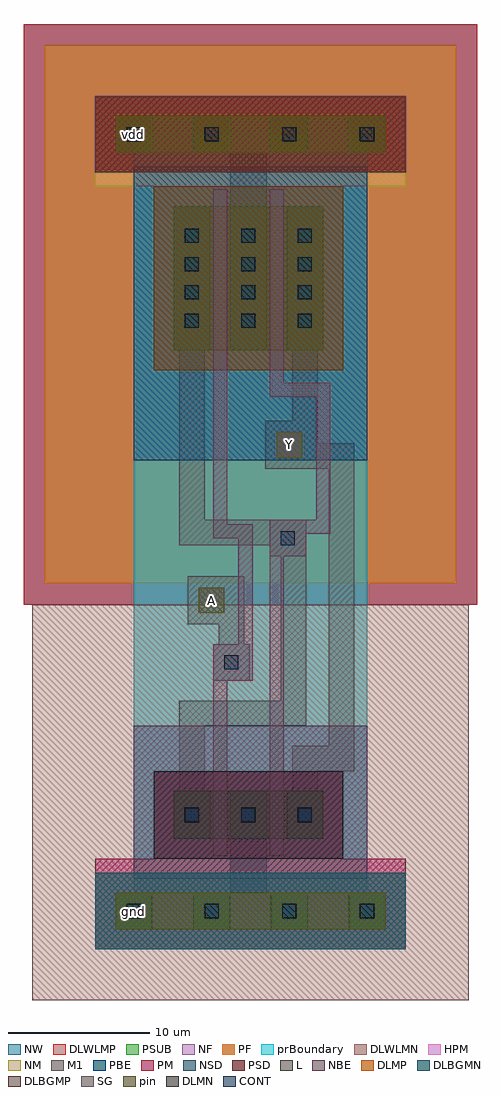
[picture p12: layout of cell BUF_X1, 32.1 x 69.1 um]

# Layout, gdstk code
import gdstk
lib = gdstk.Library(unit=1e-6, precision=1e-09)
def R(c, l, rs):  # rectangles x0, y0, x1, y1
    for r in rs: c.add(gdstk.rectangle(r[:2], r[2:], *l))
def A(c, l, x, y, w, h, nx, ny, dx, dy):  # array of equal rectangles
    R(c, l, [(x+i*dx, y+j*dy, x+i*dx+w, y+j*dy+h) for i in range(nx) for j in range(ny)])
def P(c, l, *ps):  # polygons
    for p in ps: c.add(gdstk.Polygon(p, *l))
L = (3, 0)
NM = (7, 0)
SG = (8, 0)
PSD = (9, 0)
CONT = (11, 0)
M1 = (13, 0)
NF = (25, 0)
PF = (26, 0)
NSD = (28, 0)
HPM = (33, 0)
PM = (35, 0)
NW = (36, 0)
pin = (48, 1)
PSUB = (140, 0)
PBE = (146, 0)
NBE = (147, 0)
DLWLMP = (150, 0)
DLWLMN = (151, 0)
DLMP = (157, 0)
DLMN = (158, 0)
DLBGMP = (177, 0)
DLBGMN = (178, 0)
prBoundary = (235, 0)

buf_x1 = lib.new_cell('BUF_X1')
A(buf_x1, L, -1.3, -1.3, 2.6, 2.6, 4, 2, 5.5, 55)
R(buf_x1, L, [(2.8,5.1,13.4,8.5), (2.8,39.7,13.4,49.9)])
R(buf_x1, NM, [(-2.75,-2.7,19.25,2.7)])
P(buf_x1, NM, [(1.4,38.3),(1.4,51.3),(-2.75,51.3),(-2.75,57.7),(19.25,57.7),(19.25,51.3),(14.8,51.3),(14.8,38.3)])
P(buf_x1, SG, [(5.6,3.9),(5.6,18.9),(7.4,18.9),(7.4,26.4),(5.6,26.4),(5.6,51.1),(6.6,51.1),(6.6,27.4),(8.4,27.4),(8.4,16.3),(6.6,16.3),(6.6,3.9)],
  [(9.6,3.9),(9.6,27.7),(12.9,27.7),(12.9,36.4),(9.6,36.4),(9.6,51.1),(10.6,51.1),(10.6,37.4),(13.9,37.4),(13.9,26.7),(12.2,26.7),(12.2,25.1),(10.6,25.1),(10.6,3.9)])
R(buf_x1, PSD, [(1.4,3.7,14.8,9.9), (-2.75,52.3,19.25,57.7)])
A(buf_x1, CONT, -0.5, -0.5, 1, 1, 4, 2, 5.5, 55)
A(buf_x1, CONT, 3.6, 41.3, 1, 1, 1, 4, 0, 2)
A(buf_x1, CONT, 11.6, 41.3, 1, 1, 1, 4, 0, 2)
R(buf_x1, CONT, [(3.6,6.3,4.6,7.3), (7.6,6.3,8.6,7.3), (7.6,6.3,8.6,7.3), (11.6,6.3,12.6,7.3), (6.4,17.1,7.4,18.1), (10.4,25.9,11.4,26.9), (7.6,41.3,8.6,42.3), (7.6,41.3,8.6,42.3), (7.6,43.3,8.6,44.3), (7.6,43.3,8.6,44.3), (7.6,45.3,8.6,46.3), (7.6,45.3,8.6,46.3), (7.6,47.3,8.6,48.3), (7.6,47.3,8.6,48.3)])
P(buf_x1, M1, [(-1.3,-1.3),(-1.3,1.3),(6.8,1.3),(6.8,8.5),(9.4,8.5),(9.4,1.3),(17.8,1.3),(17.8,-1.3)],
  [(5.6,16.3),(5.6,18.9),(6,18.9),(6,20.3),(3.8,20.3),(3.8,23.7),(7.8,23.7),(7.8,18.9),(8.2,18.9),(8.2,16.3)],
  [(2.8,5.1),(2.8,8.5),(3.2,8.5),(3.2,14.9),(10.4,14.9),(10.4,25.1),(9.6,25.1),(9.6,25.9),(3.2,25.9),(3.2,39.7),(2.8,39.7),(2.8,49.9),(5.4,49.9),(5.4,39.7),(5,39.7),(5,27.7),(12.2,27.7),(12.2,13.1),(5,13.1),(5,8.5),(5.4,8.5),(5.4,5.1)],
  [(10.8,5.1),(10.8,8.5),(11.2,8.5),(11.2,11.7),(13.8,11.7),(13.8,31.3),(9.3,31.3),(9.3,34.7),(11.2,34.7),(11.2,39.7),(10.8,39.7),(10.8,49.9),(13.4,49.9),(13.4,39.7),(13,39.7),(13,33.1),(15.6,33.1),(15.6,9.9),(13,9.9),(13,8.5),(13.4,8.5),(13.4,5.1)],
  [(6.8,39.7),(6.8,53.7),(-1.3,53.7),(-1.3,56.3),(17.8,56.3),(17.8,53.7),(9.4,53.7),(9.4,39.7)])
R(buf_x1, NF, [(-6.3,23.2,22.8,61.3)])
R(buf_x1, PF, [(-6.3,23.2,22.8,61.3)])
R(buf_x1, NSD, [(-2.75,-2.7,19.25,2.7), (1.4,38.3,14.8,51.3)])
P(buf_x1, HPM, [(-2.75,-2.7),(-2.75,3.7),(1.4,3.7),(1.4,9.9),(14.8,9.9),(14.8,3.7),(19.25,3.7),(19.25,-2.7)],
  [(1.4,38.3),(1.4,51.3),(-2.75,51.3),(-2.75,57.7),(19.25,57.7),(19.25,51.3),(14.8,51.3),(14.8,38.3)])
R(buf_x1, PM, [(-2.75,52.3,19.25,57.7)])
P(buf_x1, PM, [(-2.75,-2.7),(-2.75,3.7),(1.4,3.7),(1.4,9.9),(14.8,9.9),(14.8,3.7),(19.25,3.7),(19.25,-2.7)])
R(buf_x1, NW, [(-7.8,21.7,24.3,62.8)])
R(buf_x1, pin, [(-1.3,-1.3,17.8,1.3), (4.6,21.1,6.4,22.9), (10.1,32.1,11.9,33.9), (-1.3,53.7,17.8,56.3)])
R(buf_x1, PSUB, [(-6.3,23.2,22.8,61.3)])
R(buf_x1, PBE, [(0,31.9,16.5,52.7)])
R(buf_x1, NBE, [(0,2.3,16.5,13.1)])
R(buf_x1, DLWLMP, [(-7.8,21.7,24.3,62.8)])
R(buf_x1, DLWLMN, [(-7.2,-6.3,23.7,21.7)])
R(buf_x1, DLMP, [(1.4,38.3,14.8,51.3)])
R(buf_x1, DLMN, [(1.4,3.7,14.8,9.9)])
R(buf_x1, DLBGMP, [(-2.75,52.3,19.25,57.7)])
R(buf_x1, DLBGMN, [(-2.75,-2.7,19.25,2.7)])
R(buf_x1, prBoundary, [(0,0,16.5,55)])
buf_x1.add(gdstk.Label('vdd', (0,55), layer=48, texttype=0))
buf_x1.add(gdstk.Label('gnd', (0,0), layer=48, texttype=0))
buf_x1.add(gdstk.Label('Y', (11,33), layer=48, texttype=0))
buf_x1.add(gdstk.Label('A', (5.5,22), layer=48, texttype=0))

lib.write_gds('BUF_X1.gds')
